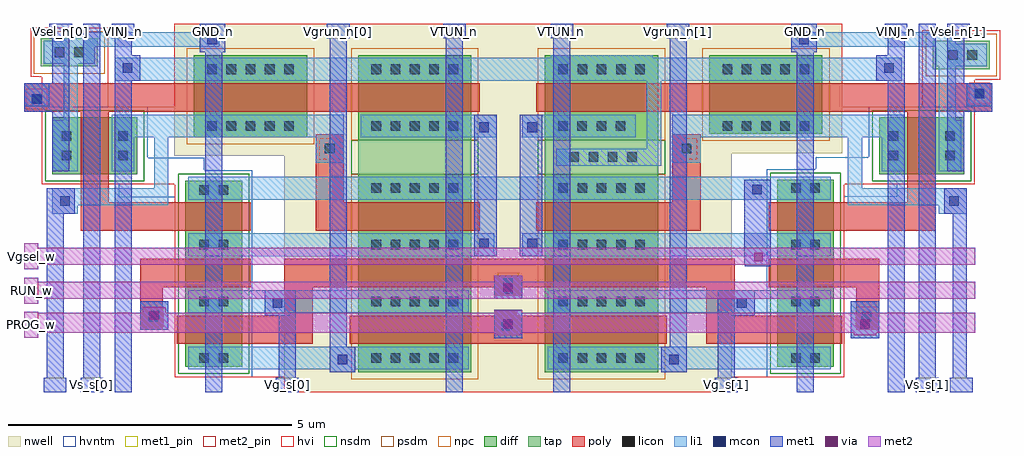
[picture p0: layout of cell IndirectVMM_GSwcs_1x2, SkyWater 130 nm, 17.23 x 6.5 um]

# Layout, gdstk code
import gdstk
lib = gdstk.Library(unit=1e-6, precision=1e-09)
def R(c, l, rs):  # rectangles x0, y0, x1, y1
    for r in rs: c.add(gdstk.rectangle(r[:2], r[2:], *l))
def A(c, l, x, y, w, h, nx, ny, dx, dy):  # array of equal rectangles
    R(c, l, [(x+i*dx, y+j*dy, x+i*dx+w, y+j*dy+h) for i in range(nx) for j in range(ny)])
nwell = (64, 20)
diff = (65, 20)
tap = (65, 44)
poly = (66, 20)
licon = (66, 44)
li1 = (67, 20)
mcon = (67, 44)
met1_pin = (68, 16)
met1 = (68, 20)
via = (68, 44)
met2_pin = (69, 16)
met2 = (69, 20)
hvi = (75, 20)
nsdm = (93, 44)
psdm = (94, 20)
npc = (95, 20)
hvntm = (125, 20)

indirectvmm_gswcs_1x2 = lib.new_cell('IndirectVMM_GSwcs_1x2')
R(indirectvmm_gswcs_1x2, nwell, [(1.85,4.85,9.75,9.02), (-0.1,9.02,9.75,9.07), (-0.1,9.07,11.7,11.35)])
R(indirectvmm_gswcs_1x2, diff, [(3.15,5.2,5.15,8.7), (6.45,5.2,8.45,8.7), (0.1,5.3,1.1,8.58), (10.55,5.3,11.55,8.6), (-2.25,8.7,-0.75,9.7), (12.35,8.7,13.85,9.7), (3.15,9.3,5.15,10.8), (6.45,9.3,8.45,10.8), (0.25,9.35,2.25,10.8), (9.35,9.41,11.35,10.8)])
R(indirectvmm_gswcs_1x2, tap, [(3.15,8.7,5.15,9.3), (6.45,8.7,8.45,9.3), (13.3,10.55,14.3,11.05), (-2.45,10.6,-1.45,11.1)])
R(indirectvmm_gswcs_1x2, poly, [(-0.05,5.7,2.35,6.2), (3,5.7,8.6,6.2), (9.3,5.7,11.7,6.2), (-0.7,5.95,-0.3,6.7), (11.95,5.95,12.35,6.7), (1.85,6.2,2.35,6.7), (5.55,6.2,5.95,6.3), (9.3,6.2,9.8,6.7), (5.55,6.55,6.05,6.7), (-0.7,6.7,1.25,7.2), (1.85,6.7,9.8,7.2), (10.4,6.7,12.35,7.2), (-1.75,7.7,1.25,8.2), (2.4,7.7,5.3,8.2), (6.3,7.7,9.2,8.2), (10.4,7.7,13.35,8.2), (-1.75,8.2,-1.25,9.8), (2.4,8.2,2.9,9.4), (8.7,8.2,9.2,9.4), (12.85,8.2,13.35,9.8), (-2.75,9.8,5.3,10.3), (6.3,9.8,14.35,10.3)])
A(indirectvmm_gswcs_1x2, licon, 0.345, 5.365, 0.17, 0.17, 1, 3, 0, 1)
A(indirectvmm_gswcs_1x2, licon, 0.685, 5.365, 0.17, 0.17, 1, 3, 0, 1)
A(indirectvmm_gswcs_1x2, licon, 3.385, 5.365, 0.17, 0.17, 5, 4, 0.34, 1)
A(indirectvmm_gswcs_1x2, licon, 6.685, 5.365, 0.17, 0.17, 5, 4, 0.34, 1)
A(indirectvmm_gswcs_1x2, licon, 10.795, 5.365, 0.17, 0.17, 1, 4, 0, 1)
A(indirectvmm_gswcs_1x2, licon, 11.135, 5.365, 0.17, 0.17, 1, 4, 0, 1)
A(indirectvmm_gswcs_1x2, licon, 6.88, 8.915, 0.17, 0.17, 4, 1, 0.34, 0)
A(indirectvmm_gswcs_1x2, licon, 0.485, 9.465, 0.17, 0.17, 5, 2, 0.34, 1)
A(indirectvmm_gswcs_1x2, licon, 3.385, 9.465, 0.17, 0.17, 5, 2, 0.34, 1)
A(indirectvmm_gswcs_1x2, licon, 6.68, 9.465, 0.17, 0.17, 4, 1, 0.34, 0)
A(indirectvmm_gswcs_1x2, licon, 9.585, 9.465, 0.17, 0.17, 5, 2, 0.34, 1)
A(indirectvmm_gswcs_1x2, licon, 6.685, 10.465, 0.17, 0.17, 5, 1, 0.34, 0)
R(indirectvmm_gswcs_1x2, licon, [(5.69,5.94,5.86,6.11), (-0.56,6.09,-0.39,6.26), (12.04,6.09,12.21,6.26), (5.715,6.69,5.885,6.86), (0.345,8.335,0.515,8.505), (0.685,8.335,0.855,8.505), (-2.085,8.945,-1.915,9.115), (-1.085,8.945,-0.915,9.115), (12.515,8.945,12.685,9.115), (13.515,8.945,13.685,9.115), (2.565,9.065,2.735,9.235), (8.865,9.065,9.035,9.235), (-2.085,9.285,-1.915,9.455), (-1.085,9.285,-0.915,9.455), (12.515,9.285,12.685,9.455), (13.515,9.285,13.685,9.455), (-2.61,9.94,-2.44,10.11), (14.04,10.04,14.21,10.21), (13.57,10.715,13.74,10.885), (13.91,10.715,14.08,10.885), (-2.205,10.765,-2.035,10.935), (-1.865,10.765,-1.695,10.935)])
R(indirectvmm_gswcs_1x2, li1, [(2.65,5.2,3.1,5.25), (8.5,5.2,8.95,5.25), (0.15,5.25,5.1,5.65), (6.5,5.25,11.5,5.65), (5.55,5.8,6.05,6.3), (11.85,5.8,12.35,6.45), (-0.7,5.95,-0.2,6.45), (1.5,6.2,1.95,6.25), (9.7,6.2,10.15,6.25), (0.15,6.25,5.1,6.65), (6.5,6.25,11.5,6.65), (5.55,6.5,6.05,6.9), (0.15,7.25,5.55,7.65), (6.05,7.25,11.5,7.65), (-2.25,8,-1.8,8.15), (13.4,8,13.9,8.15), (-2.25,8.15,-0.2,8.45), (11.8,8.15,13.9,8.45), (0.15,8.25,11.5,8.65), (-0.45,8.45,-0.2,9.35), (11.8,8.45,12.05,9.35), (-2.25,8.75,-1.8,9.65), (-1.2,8.75,-0.8,9.35), (12.4,8.75,12.8,9.35), (13.4,8.75,13.8,9.65), (6.65,8.85,8.5,9.15), (2.4,8.9,2.9,9.35), (8.7,8.9,9.2,9.35), (8.25,9.15,8.5,10.35), (-1.2,9.35,2.9,9.75), (3.2,9.35,5.6,9.75), (6.05,9.35,8.05,9.75), (8.7,9.35,12.8,9.75), (-2.05,9.65,-1.8,10.65), (13.4,9.65,13.7,10.6), (-2.75,9.9,-2.3,10.3), (13.9,9.9,14.35,10.3), (-1.15,10.35,12.75,10.75), (13.35,10.6,14.25,10.95), (-2.4,10.65,-1.5,10.95), (6.55,10.75,8.35,10.8), (-2.4,10.95,0.7,11.05), (10.8,10.95,14.25,11), (10.8,11,13.7,11.2), (-2.05,11.05,0.7,11.2)])
R(indirectvmm_gswcs_1x2, mcon, [(2.79,5.34,2.96,5.51), (8.64,5.34,8.81,5.51), (5.715,5.965,5.885,6.135), (12.015,5.965,12.185,6.135), (-0.535,6.115,-0.365,6.285), (1.64,6.34,1.81,6.51), (9.84,6.34,10.01,6.51), (5.715,6.59,5.885,6.76), (5.29,7.39,5.46,7.56), (6.14,7.39,6.31,7.56), (-2.11,8.14,-1.94,8.31), (13.59,8.14,13.76,8.31), (10.11,8.34,10.28,8.51), (5.29,9.44,5.46,9.61), (6.14,9.44,6.31,9.61), (-2.61,9.94,-2.44,10.11), (14.04,10.04,14.21,10.21), (-1.01,10.49,-0.84,10.66), (12.44,10.49,12.61,10.66), (0.49,10.99,0.66,11.16), (10.94,10.99,11.11,11.16)])
R(indirectvmm_gswcs_1x2, met1_pin, [(-2.4,4.85,-2,5.1), (-1.75,4.85,-1.35,5.1), (1.7,4.85,2.1,5.1), (9.45,4.85,9.85,5.1), (13,4.85,13.4,5.1), (13.6,4.85,14,5.1), (-2.3,11.1,-1.9,11.35), (-1.2,11.1,-0.8,11.35), (0.4,11.1,0.8,11.35), (2.6,11.1,3,11.35), (4.65,11.1,5.05,11.35), (6.55,11.1,6.95,11.35), (8.6,11.1,9,11.35), (10.85,11.1,11.25,11.35), (12.45,11.1,12.85,11.35), (13.55,11.1,13.95,11.35)])
R(indirectvmm_gswcs_1x2, met1, [(-2.4,4.85,-2,5.1), (-1.75,4.85,-1.35,5.1), (-1.15,4.85,-0.85,10.35), (0.45,4.85,0.75,10.85), (1.7,4.85,2.1,5.1), (4.7,4.85,5,11.1), (6.6,4.85,6.9,11.1), (9.45,4.85,9.85,5.1), (10.9,4.85,11.2,10.85), (12.5,4.85,12.8,10.35), (13,4.85,13.4,5.1), (13.6,4.85,14,5.1), (-2.35,5.1,-2.05,8), (-1.7,5.1,-1.4,11.35), (1.75,5.1,2.05,6.2), (9.5,5.1,9.8,6.2), (13.05,5.1,13.35,11.35), (13.65,5.1,13.9,8), (2.65,5.2,3.1,5.65), (8.5,5.2,8.95,5.65), (2.65,5.65,2.95,11.1), (8.65,5.65,8.95,11.1), (5.55,5.8,6.05,6.3), (11.85,5.8,12.35,6.45), (-0.7,5.95,-0.2,6.45), (1.5,6.2,2.05,6.65), (9.5,6.2,10.15,6.65), (5.55,6.5,6.05,6.9), (9.98,7.07,10.44,7.11), (9.97,7.11,10.44,8.6), (5.2,7.25,5.6,9.75), (6,7.25,6.4,9.75), (-2.35,8,-1.85,8.45), (13.5,8,13.9,8.45), (-2.25,8.75,-1.95,9.8), (13.55,8.75,13.85,9.8), (-2.75,9.8,-1.95,10.3), (13.55,9.8,14.35,10.3), (-2.25,10.3,-1.95,11.1), (13.55,10.3,13.85,11.1), (-1.15,10.35,-0.7,10.8), (12.3,10.35,12.8,10.8), (-1.15,10.8,-0.85,11.1), (12.5,10.8,12.8,11.1), (0.35,10.85,0.8,11.35), (10.8,10.85,11.25,11.35), (-2.3,11.1,-1.9,11.35), (-1.2,11.1,-0.8,11.35), (2.6,11.1,3,11.35), (4.65,11.1,5.05,11.35), (6.55,11.1,6.95,11.35), (8.6,11.1,9,11.35), (12.45,11.1,12.85,11.35), (13.55,11.1,13.95,11.35)])
R(indirectvmm_gswcs_1x2, via, [(5.725,5.975,5.875,6.125), (12.025,5.975,12.175,6.125), (-0.525,6.125,-0.375,6.275), (5.725,6.625,5.875,6.775), (10.145,7.16,10.295,7.31)])
R(indirectvmm_gswcs_1x2, met2_pin, [(-2.75,5.81,-2.5,6.27), (-2.75,6.41,-2.5,6.87), (-2.75,7.02,-2.5,7.48)])
R(indirectvmm_gswcs_1x2, met2, [(-2.75,5.81,-2.5,5.9), (5.6,5.85,6,5.88), (11.9,5.85,12.3,5.9), (5.55,5.88,6.05,5.9), (-2.75,5.9,14.05,6.25), (-2.75,6.25,-2.5,6.27), (-0.65,6.25,-0.25,6.35), (5.55,6.25,6.05,6.29), (-2.75,6.41,-2.5,6.5), (-2.75,6.5,14.05,6.8), (-2.75,6.8,-2.5,6.87), (5.55,6.8,6.05,6.9), (-2.75,7.02,-2.5,7.1), (-2.75,7.1,14.05,7.4), (-2.75,7.4,-2.5,7.48)])
R(indirectvmm_gswcs_1x2, hvi, [(1.85,4.85,9.75,5.115), (-0.085,5.115,11.735,8.515), (-2.435,8.515,14.035,9.885), (-2.435,9.885,-1.265,10.415), (-0.1,9.885,11.7,11.35), (13.115,9.885,14.035,10.365), (13.115,10.365,14.485,11.235), (-2.635,10.415,-1.265,11.285)])
R(indirectvmm_gswcs_1x2, nsdm, [(-0.025,5.175,1.225,8.705), (10.425,5.175,11.675,8.725), (-2.375,8.575,-0.625,9.825), (12.225,8.575,13.975,9.825), (3.025,8.7,5.275,9.3), (6.325,8.7,8.575,9.3)])
R(indirectvmm_gswcs_1x2, psdm, [(3.025,5.075,5.275,8.7), (6.325,5.075,8.575,8.7), (0.125,9.225,2.375,10.925), (9.225,9.285,11.475,10.925), (3.025,9.3,5.275,10.925), (6.325,9.3,8.575,10.925), (13.175,10.425,14.425,11.175), (-2.575,10.475,-1.325,11.225)])
R(indirectvmm_gswcs_1x2, npc, [(5.59,5.84,5.96,6.21), (-0.66,5.99,-0.29,6.36), (11.94,5.99,12.31,6.36), (5.615,6.59,5.985,6.96), (2.465,8.965,2.835,9.335), (8.765,8.965,9.135,9.335), (-2.71,9.84,-2.34,10.21), (13.94,9.94,14.31,10.31)])
R(indirectvmm_gswcs_1x2, hvntm, [(-0.085,5.115,1.285,8.29), (10.365,5.115,11.735,8.3), (-1.08,8.29,1.285,8.515), (10.365,8.3,12.67,8.515), (-2.435,8.515,1.285,8.765), (10.365,8.515,14.035,8.785), (-2.435,8.765,0.43,8.99), (11.23,8.785,14.035,9), (-2.435,8.99,-0.565,9.885), (12.165,9,14.035,9.885)])
indirectvmm_gswcs_1x2.add(gdstk.Label('GND_n', (11.05,11.225), layer=68, texttype=5))
indirectvmm_gswcs_1x2.add(gdstk.Label('GND_n', (0.6,11.225), layer=68, texttype=5))
indirectvmm_gswcs_1x2.add(gdstk.Label('PROG_w', (-2.625,6.04), layer=69, texttype=5))
indirectvmm_gswcs_1x2.add(gdstk.Label('RUN_w', (-2.625,6.64), layer=69, texttype=5))
indirectvmm_gswcs_1x2.add(gdstk.Label('Vg_s[0]', (1.9,4.975), layer=68, texttype=5))
indirectvmm_gswcs_1x2.add(gdstk.Label('Vg_s[1]', (9.65,4.975), layer=68, texttype=5))
indirectvmm_gswcs_1x2.add(gdstk.Label('Vgrun_n[0]', (2.8,11.225), layer=68, texttype=5))
indirectvmm_gswcs_1x2.add(gdstk.Label('Vgrun_n[1]', (8.8,11.225), layer=68, texttype=5))
indirectvmm_gswcs_1x2.add(gdstk.Label('Vgsel_w', (-2.625,7.25), layer=69, texttype=5))
indirectvmm_gswcs_1x2.add(gdstk.Label('VINJ_n', (12.65,11.225), layer=68, texttype=5))
indirectvmm_gswcs_1x2.add(gdstk.Label('VINJ_n', (-1,11.225), layer=68, texttype=5))
indirectvmm_gswcs_1x2.add(gdstk.Label('Vs_s[0]', (-1.55,4.975), layer=68, texttype=5))
indirectvmm_gswcs_1x2.add(gdstk.Label('Vs_s[1]', (13.2,4.975), layer=68, texttype=5))
indirectvmm_gswcs_1x2.add(gdstk.Label('Vsel_n[0]', (-2.1,11.225), layer=68, texttype=5))
indirectvmm_gswcs_1x2.add(gdstk.Label('Vsel_n[1]', (13.75,11.225), layer=68, texttype=5))
indirectvmm_gswcs_1x2.add(gdstk.Label('Vsel_B_s[0]', (-2.2,4.975), layer=68, texttype=5))
indirectvmm_gswcs_1x2.add(gdstk.Label('Vsel_B_s[1]', (13.8,4.975), layer=68, texttype=5))
indirectvmm_gswcs_1x2.add(gdstk.Label('VTUN_n', (6.75,11.225), layer=68, texttype=5))
indirectvmm_gswcs_1x2.add(gdstk.Label('VTUN_n', (4.85,11.225), layer=68, texttype=5))

lib.write_gds('IndirectVMM_GSwcs_1x2.gds')
